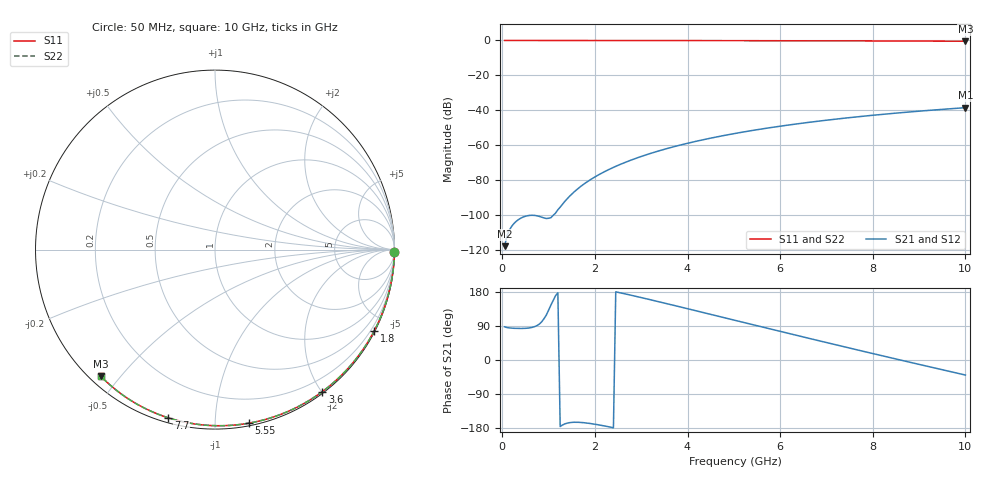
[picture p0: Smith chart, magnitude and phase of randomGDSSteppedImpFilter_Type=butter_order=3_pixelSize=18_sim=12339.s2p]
! freq	dB(S11)	phase(S11)	dB(S12)	phase(S12)
!  dB(S21)	phase(S21)	dB(S22)	phase(S22)
!S-par simulation data
#  GHz  S  DB  R 50
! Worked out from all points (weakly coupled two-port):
!   200 points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, 50 MHz to 10 GHz, reference 50 ohm
!   highest |S21| = -38.42 dB at 10 GHz (marker M1); lowest = -117.5 dB at 50 MHz (marker M2)
!   lowest |S11| = -0.4 dB at 10 GHz (marker M3), VSWR 38.95, Z = 1.54 - j22.2 ohm
!   |S11| at or under -10 dB: nowhere
!   |S22| runs from -0.4 to 0.0 dB; largest |S21 - S12| = 0
!   S11 on the Smith chart (normalised r, x): 50 MHz: open; 1.8 GHz: 0.04, -4.15; 3.6 GHz: 0.02, -2.01; 5.55 GHz: 0.02, -1.21; 7.7 GHz: 0.02, -0.76; 10 GHz: 0.03, -0.44
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0.05  -0.00 -0.8  -117.53 87.5  -117.53 87.5  -0.00 -0.8
0.9  -0.02 -13.7  -101.40 108.9  -101.40 108.9  -0.02 -13.7
1.75  -0.03 -26.3  -82.29 -165.3  -82.29 -165.3  -0.03 -26.4
1.8  -0.03 -27.1  -81.35 -166.0  -81.35 -166.0  -0.03 -27.1
1.85  -0.04 -27.8  -80.45 -166.7  -80.45 -166.7  -0.04 -27.8
1.9  -0.04 -28.5  -79.59 -167.6  -79.59 -167.6  -0.04 -28.6
2.05  -0.04 -30.8  -77.21 -170.5  -77.21 -170.5  -0.04 -30.8
2.25  -0.04 -33.7  -74.39 -175.1  -74.39 -175.1  -0.04 -33.7
2.45  -0.05 -36.6  -71.91 179.9  -71.91 179.9  -0.05 -36.6
2.65  -0.05 -39.5  -69.69 174.5  -69.69 174.5  -0.05 -39.5
3  -0.06 -44.5  -66.27 164.8  -66.27 164.8  -0.06 -44.5
3.4  -0.07 -50.1  -62.93 153.2  -62.93 153.2  -0.07 -50.2
3.6  -0.07 -52.9  -61.44 147.3  -61.44 147.3  -0.07 -53.0
4.3  -0.09 -62.6  -56.93 126.4  -56.93 126.4  -0.09 -62.6
5.05  -0.11 -72.6  -53.01 103.9  -53.01 103.9  -0.11 -72.6
5.55  -0.13 -79.1  -50.78 89.0  -50.78 89.0  -0.13 -79.1
6.1  -0.15 -86.0  -48.61 72.6  -48.61 72.6  -0.15 -86.1
6.7  -0.18 -93.5  -46.51 54.9  -46.51 54.9  -0.18 -93.6
7.7  -0.24 -105.5  -43.53 25.6  -43.53 25.6  -0.24 -105.6
8.35  -0.29 -113.2  -41.87 6.9  -41.87 6.9  -0.29 -113.2
9.15  -0.36 -122.4  -40.07 -15.8  -40.07 -15.8  -0.36 -122.5
10  -0.45 -132.0  -38.42 -39.7  -38.42 -39.7  -0.45 -132.1
